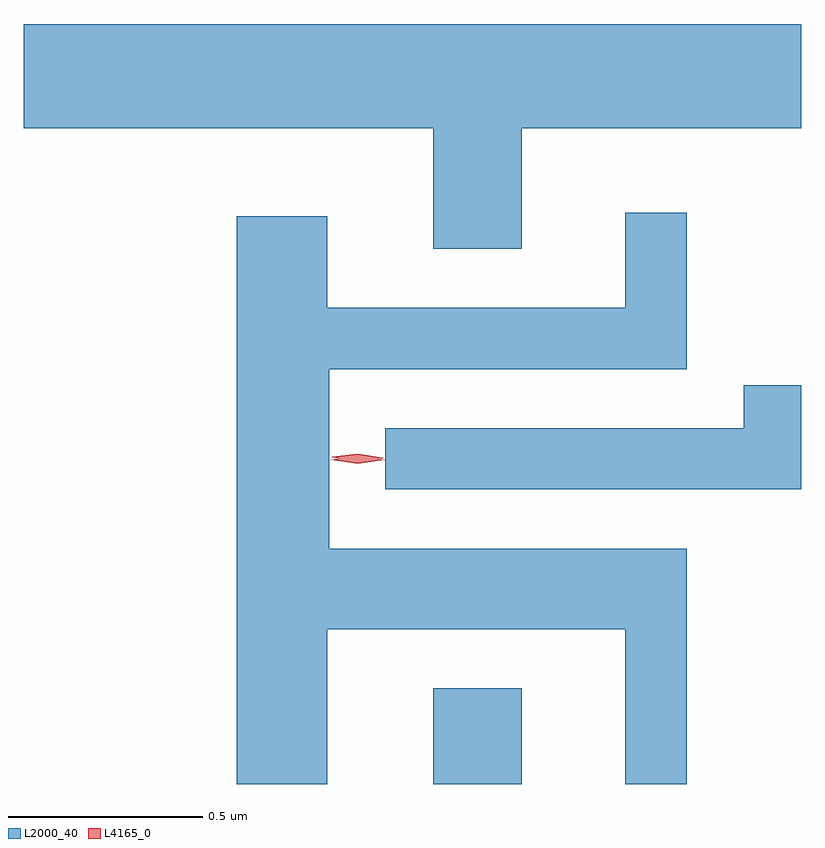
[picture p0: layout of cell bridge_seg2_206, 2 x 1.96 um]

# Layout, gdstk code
import gdstk
lib = gdstk.Library(unit=1e-6, precision=1e-09)
def R(c, l, rs):  # rectangles x0, y0, x1, y1
    for r in rs: c.add(gdstk.rectangle(r[:2], r[2:], *l))
def P(c, l, *ps):  # polygons
    for p in ps: c.add(gdstk.Polygon(p, *l))
L2000_40 = (2000, 40)
L4165_0 = (4165, 0)

bridge_seg2_206 = lib.new_cell('bridge_seg2_206')
R(bridge_seg2_206, L2000_40, [(888.831,1035.528,889.059,1035.774)])
P(bridge_seg2_206, L2000_40, [(889.059,1037.216),(889.778,1037.216),(889.778,1037.484),(887.778,1037.484),(887.778,1037.216),(888.831,1037.216),(888.831,1036.906),(889.059,1036.906)],
  [(888.559,1035.926),(889.326,1035.926),(889.326,1035.528),(889.484,1035.528),(889.484,1036.134),(888.564,1036.134),(888.564,1036.596),(889.484,1036.596),(889.484,1036.998),(889.326,1036.998),(889.326,1036.754),(888.559,1036.754),(888.559,1036.989),(888.326,1036.989),(888.326,1035.528),(888.559,1035.528)],
  [(889.778,1036.554),(889.631,1036.554),(889.631,1036.444),(888.708,1036.444),(888.708,1036.286),(889.778,1036.286)])
P(bridge_seg2_206, L4165_0, [(888.636,1036.359),(888.571,1036.369),(888.57,1036.369),(888.571,1036.37),(888.637,1036.378),(888.702,1036.368),(888.703,1036.368),(888.702,1036.367)],
  [(888.637,1036.352),(888.568,1036.362),(888.567,1036.362),(888.568,1036.363),(888.637,1036.372),(888.706,1036.363),(888.706,1036.362),(888.706,1036.362)])

lib.write_gds('bridge_seg2_206.gds')
